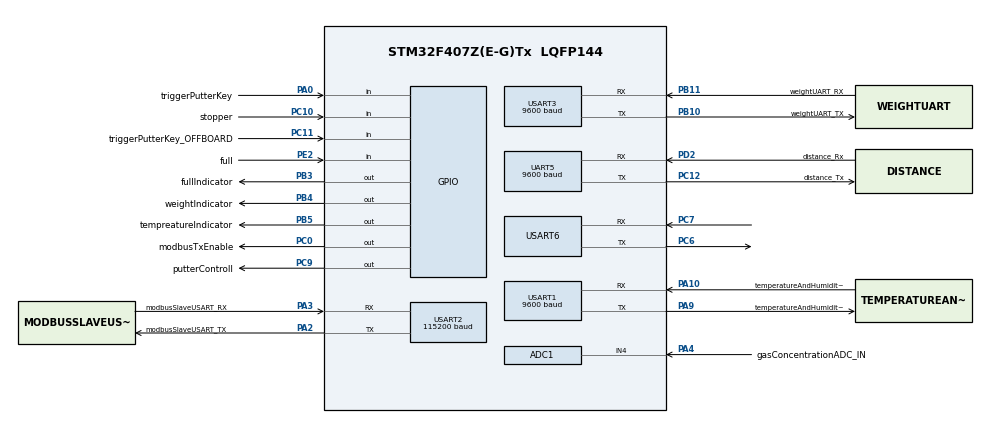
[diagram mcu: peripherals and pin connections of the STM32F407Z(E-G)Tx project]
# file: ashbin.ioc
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Mcu.Family=STM32F4
NVIC.USART3_IRQn=true\:6\:0\:true\:false\:true\:true\:true
Dma.USART6_RX.5.FIFOMode=DMA_FIFOMODE_DISABLE
Dma.USART1_TX.2.Direction=DMA_MEMORY_TO_PERIPH
PH0-OSC_IN.Signal=RCC_OSC_IN
RCC.CortexFreq_Value=168000000
Dma.USART3_TX.4.Priority=DMA_PRIORITY_LOW
PB10.Mode=Asynchronous
ADC1.ContinuousConvMode=ENABLE
Dma.USART6_RX.5.Priority=DMA_PRIORITY_LOW
USART1.BaudRate=9600
PC10.Signal=GPIO_Input
PC12.Signal=UART5_TX
Dma.UART5_RX.6.Direction=DMA_PERIPH_TO_MEMORY
PC0.GPIO_Label=modbusTxEnable
Dma.USART6_RX.5.PeriphDataAlignment=DMA_PDATAALIGN_BYTE
PB11.Signal=USART3_RX
Dma.USART3_RX.3.Mode=DMA_NORMAL
RCC.SYSCLKSource=RCC_SYSCLKSOURCE_PLLCLK
ProjectManager.StackSize=0x400
NVIC.UART5_IRQn=true\:8\:0\:true\:false\:true\:true\:true
Dma.USART6_RX.5.MemInc=DMA_MINC_ENABLE
Dma.USART3_RX.3.MemDataAlignment=DMA_MDATAALIGN_BYTE
NVIC.ADC_IRQn=true\:5\:0\:true\:false\:true\:true\:true
USART3.BaudRate=9600
Dma.USART3_RX.3.PeriphDataAlignment=DMA_PDATAALIGN_BYTE
Dma.USART6_RX.5.Instance=DMA2_Stream1
RCC.HCLKFreq_Value=168000000
RCC.APB2TimFreq_Value=168000000
Dma.USART3_TX.4.MemDataAlignment=DMA_MDATAALIGN_BYTE
VP_TIM10_VS_ClockSourceINT.Mode=Enable_Timer
Dma.ADC1.0.Direction=DMA_PERIPH_TO_MEMORY
ADC1.Channel-2\#ChannelRegularConversion=ADC_CHANNEL_4
PC7.Signal=USART6_RX
ADC1.InjNumberOfConversion=0
NVIC.DMA2_Stream0_IRQn=true\:9\:0\:true\:false\:true\:false\:true
Dma.USART1_RX.1.MemInc=DMA_MINC_ENABLE
Dma.ADC1.0.MemDataAlignment=DMA_MDATAALIGN_HALFWORD
Dma.UART5_RX.6.PeriphDataAlignment=DMA_PDATAALIGN_BYTE
RCC.AHBFreq_Value=168000000
PH0-OSC_IN.Mode=HSE-External-Oscillator
RCC.HSE_VALUE=25000000
Dma.USART1_RX.1.PeriphDataAlignment=DMA_PDATAALIGN_BYTE
ADC1.ScanConvMode=ENABLE
Dma.USART3_RX.3.Instance=DMA1_Stream1
Dma.UART5_RX.6.Mode=DMA_CIRCULAR
ADC1.Rank-2\#ChannelRegularConversion=1
PC14-OSC32_IN.Mode=LSE-External-Oscillator
Dma.ADC1.0.PeriphInc=DMA_PINC_DISABLE
PC11.GPIO_Label=triggerPutterKey_OFFBOARD
NVIC.TIM2_IRQn=true\:4\:0\:true\:false\:true\:true\:true
PA10.GPIO_Label=temperatureAndHumidityUSART_RX
Dma.USART1_TX.2.PeriphDataAlignment=DMA_PDATAALIGN_BYTE
PE2.Signal=GPIO_Input
Dma.USART3_RX.3.PeriphInc=DMA_PINC_DISABLE
Dma.USART1_TX.2.MemDataAlignment=DMA_MDATAALIGN_BYTE
Dma.USART3_TX.4.Direction=DMA_MEMORY_TO_PERIPH
Dma.USART1_RX.1.Mode=DMA_NORMAL
PH1-OSC_OUT.Mode=HSE-External-Oscillator
Mcu.Package=LQFP144
TIM2.Prescaler=0
NVIC.DMA2_Stream7_IRQn=true\:9\:0\:true\:false\:true\:false\:true
Dma.USART6_RX.5.PeriphInc=DMA_PINC_DISABLE
USART2.VirtualMode=VM_ASYNC
USART6.VirtualMode=VM_ASYNC
PA2.GPIO_Label=modbusSlaveUSART_TX
Dma.USART6_RX.5.Mode=DMA_NORMAL
PA10.Signal=USART1_RX
Dma.USART3_TX.4.Instance=DMA1_Stream3
Dma.USART3_RX.3.MemInc=DMA_MINC_ENABLE
Dma.USART1_RX.1.PeriphInc=DMA_PINC_DISABLE
RCC.APB2CLKDivider=RCC_HCLK_DIV2
PB5.GPIO_Label=tempreatureIndicator
NVIC.DMA2_Stream2_IRQn=true\:9\:0\:true\:false\:true\:false\:true
Dma.Request2=USART1_TX
Dma.Request1=USART1_RX
RCC.APB1TimFreq_Value=84000000
Dma.Request4=USART3_TX
Dma.Request3=USART3_RX
Dma.Request6=UART5_RX
Dma.ADC1.0.FIFOMode=DMA_FIFOMODE_DISABLE
Dma.UART5_RX.6.Priority=DMA_PRIORITY_LOW
Dma.Request5=USART6_RX
NVIC.DMA1_Stream0_IRQn=true\:9\:0\:true\:false\:true\:false\:true
UART5.BaudRate=9600
Dma.USART1_RX.1.Priority=DMA_PRIORITY_LOW
NVIC.USART1_IRQn=true\:8\:0\:true\:false\:true\:true\:true
Dma.Request0=ADC1
PA4.GPIO_Label=gasConcentrationADC_IN
PE2.GPIO_Label=full
PB4.Signal=GPIO_Output
PA3.Signal=USART2_RX
Dma.USART3_TX.4.FIFOMode=DMA_FIFOMODE_DISABLE
PB3.GPIO_Label=fullIndicator
TIM10.Prescaler=4199
Dma.USART3_TX.4.PeriphInc=DMA_PINC_DISABLE
PC15-OSC32_OUT.Mode=LSE-External-Oscillator
Dma.USART1_RX.1.Instance=DMA2_Stream2
Dma.USART3_RX.3.Direction=DMA_PERIPH_TO_MEMORY
Dma.ADC1.0.Instance=DMA2_Stream0
Dma.USART1_RX.1.MemDataAlignment=DMA_MDATAALIGN_BYTE
PA10.Mode=Asynchronous
PC10.GPIO_Label=stopper
Dma.USART1_TX.2.MemInc=DMA_MINC_ENABLE
PC9.GPIO_Label=putterControll
Dma.UART5_RX.6.FIFOMode=DMA_FIFOMODE_DISABLE
Dma.USART3_TX.4.MemInc=DMA_MINC_ENABLE
PC11.Signal=GPIO_Input
PA9.GPIO_Label=temperatureAndHumidityUSART_TX
Dma.UART5_RX.6.MemDataAlignment=DMA_MDATAALIGN_BYTE
PC6.Signal=USART6_TX
PB11.GPIO_Label=weightUART_RX
Dma.UART5_RX.6.MemInc=DMA_MINC_ENABLE
NVIC.DMA1_Stream1_IRQn=true\:9\:0\:true\:false\:true\:false\:true
NVIC.DMA2_Stream1_IRQn=true\:9\:0\:true\:false\:true\:false\:true
UART5.VirtualMode=Asynchronous
PC0.Signal=GPIO_Output
RCC.APB1CLKDivider=RCC_HCLK_DIV4
PC14-OSC32_IN.Signal=RCC_OSC32_IN
Dma.UART5_RX.6.PeriphInc=DMA_PINC_DISABLE
NVIC.USART2_IRQn=true\:8\:0\:true\:false\:true\:true\:true
USART2.BaudRate=115200
ADC1.SamplingTime-2\#ChannelRegularConversion=ADC_SAMPLETIME_28CYCLES
PA0-WKUP.GPIO_Label=triggerPutterKey
PA0-WKUP.Signal=GPIO_Input
NVIC.USART6_IRQn=true\:8\:0\:true\:false\:true\:true\:true
Dma.UART5_RX.6.Instance=DMA1_Stream0
PA3.Mode=Asynchronous
Dma.ADC1.0.PeriphDataAlignment=DMA_PDATAALIGN_HALFWORD
PA9.Mode=Asynchronous
PB11.Mode=Asynchronous
ProjectManager.TargetToolchain=Makefile
PB10.GPIO_Label=weightUART_TX
Dma.ADC1.0.Mode=DMA_CIRCULAR
PC6.Mode=Asynchronous
Dma.ADC1.0.Priority=DMA_PRIORITY_LOW
Dma.USART3_RX.3.FIFOMode=DMA_FIFOMODE_DISABLE
PA9.Signal=USART1_TX
PC15-OSC32_OUT.Signal=RCC_OSC32_OUT
PB10.Signal=USART3_TX
PD2.Mode=Asynchronous
Dma.USART1_RX.1.FIFOMode=DMA_FIFOMODE_DISABLE
Dma.USART3_TX.4.PeriphDataAlignment=DMA_PDATAALIGN_BYTE
PC12.Mode=Asynchronous
board=custom
RCC.VCOOutputFreq_Value=336000000
Dma.USART1_TX.2.FIFOMode=DMA_FIFOMODE_DISABLE
TIM10.Period=35
RCC.APB2Freq_Value=84000000
Dma.USART6_RX.5.MemDataAlignment=DMA_MDATAALIGN_BYTE
USART2.StopBits=STOPBITS_1
PB4.GPIO_Label=weightIndicator
VP_TIM2_VS_ClockSourceINT.Mode=Internal
Dma.USART1_TX.2.Priority=DMA_PRIORITY_LOW
PH1-OSC_OUT.Signal=RCC_OSC_OUT
SH.ADCx_IN4.0=ADC1_IN4,IN4
ADC1.DMAContinuousRequests=ENABLE
TIM2.Period=16800000
ADC1.NbrOfConversion=1
Dma.USART6_RX.5.Direction=DMA_PERIPH_TO_MEMORY
Mcu.Name=STM32F407Z(E-G)Tx
PA2.Signal=USART2_TX
Dma.USART1_TX.2.PeriphInc=DMA_PINC_DISABLE
RCC.48MHZClocksFreq_Value=84000000
PB3.Signal=GPIO_Output
PA4.Signal=ADCx_IN4
RCC.SYSCLKFreq_VALUE=168000000
PB5.Signal=GPIO_Output
ADC1.master=1
Dma.USART3_TX.4.Mode=DMA_NORMAL
USART3.VirtualMode=VM_ASYNC
PC12.GPIO_Label=distance_Tx
USART1.VirtualMode=VM_ASYNC
Dma.ADC1.0.MemInc=DMA_MINC_ENABLE
ProjectManager.HeapSize=0x200
NVIC.TIM1_UP_TIM10_IRQn=true\:8\:0\:true\:false\:true\:true\:true
Dma.USART1_TX.2.Mode=DMA_NORMAL
RCC.HSI_VALUE=16000000
NVIC.PriorityGroup=NVIC_PRIORITYGROUP_4
ADC1.NbrOfConversionFlag=1
Dma.USART1_TX.2.Instance=DMA2_Stream7
RCC.PLLM=8
RCC.PLLN=168
PA2.Mode=Asynchronous
TIM2.AutoReloadPreload=TIM_AUTORELOAD_PRELOAD_ENABLE
Dma.USART3_RX.3.Priority=DMA_PRIORITY_LOW
NVIC.DMA1_Stream3_IRQn=true\:9\:0\:true\:false\:true\:false\:true
Dma.USART1_RX.1.Direction=DMA_PERIPH_TO_MEMORY
PC9.Signal=GPIO_Output
PC7.Mode=Asynchronous
PD2.Signal=UART5_RX
RCC.APB1Freq_Value=42000000
PD2.GPIO_Label=distance_Rx
PA3.GPIO_Label=modbusSlaveUSART_RX

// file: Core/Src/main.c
/* USER CODE BEGIN Header */
/**
  ******************************************************************************
  * @file           : main.c
  * @brief          : Main program body
  ******************************************************************************
  * @attention
  *
  * <h2><center>&copy; Copyright (c) 2020 STMicroelectronics.
  * All rights reserved.</center></h2>
  *
  * This software component is licensed by ST under BSD 3-Clause license,
  * the "License"; You may not use this file except in compliance with the
  * License. You may obtain a copy of the License at:
  *                        opensource.org/licenses/BSD-3-Clause
  *
  ******************************************************************************
  */

/* USER CODE END Header */
#include "main.h"
#include "adc.h"
#include "dma.h"
#include "tim.h"
#include "usart.h"
#include "gpio.h"

/* USER CODE BEGIN Includes */
#include "mb.h"
#include "port.h"
#include "log.h"
#include "uart_periphs.h"
#include "putter.h"
#include "perials_board.h"
#include "infrared.h"
/* USER CODE END Includes */

void SystemClock_Config(void);

/* USER CODE BEGIN 0 */
uint32_t ultraSoundValueCnt = 0;
uint32_t ultraSoundTotalValue = 0;
void autoOpenWhenUserComing()
{
  ultraSoundTotalValue += getUltraSoundValue();
  ultraSoundValueCnt++;
  uint32_t ultraSoundMeanValue = ultraSoundTotalValue / ultraSoundValueCnt;
  if (10 == ultraSoundValueCnt)
  {
    if (ultraSoundMeanValue <= 300 && !getPutterStatus())
    {
      setPutterOpen();
    }
    ultraSoundValueCnt = 0;
    ultraSoundMeanValue = 0;
  }
}

/* USER CODE END 0 */

int main(void)
{

  /* MCU Configuration--------------------------------------------------------*/

  /* Reset of all peripherals, Initializes the Flash interface and the Systick. */
  HAL_Init();

  /* Configure the system clock */
  SystemClock_Config();

  /* Initialize all configured peripherals */
  MX_GPIO_Init();
  MX_DMA_Init();
  MX_ADC1_Init();
  MX_TIM10_Init();
  MX_USART1_UART_Init();
  MX_USART2_UART_Init();
  MX_USART3_UART_Init();
  MX_TIM2_Init();
  MX_UART5_Init();
  MX_USART6_UART_Init();
  /* USER CODE BEGIN 2 */

  // NOTE: these initialtions need an order, do not change it without test.
  ADC_DMA_Config();
  tempreatureAndHumityUSART_DMA_Config();
  weightUSART_DMA_Config();
  scanerUSART_DMA_Config();
  ultraSoundUART_DMA_Config();
  LL_TIM_EnableIT_UPDATE(TIM2);
  LL_TIM_EnableCounter(TIM2);

  // init modbus protocol stack
  eMBInit(BOARD_MODBUS_MODE, BOARD_SLAVE_ADDR, BOARD_MODBUS_USART, BOARD_MODBUS_BAUD, BOARD_MODBUS_PARITY);
  // enable modbus protocol stack
  eMBEnable();
  setPutterClose();
  /* USER CODE END 2 */

  /* Infinite loop */
  /* USER CODE BEGIN WHILE */
  while (1)
  {

    eMBPoll();
    keyScan();
    stopperScan();
    updateFullStatus();
    /* USER CODE END WHILE */

    /* USER CODE BEGIN 3 */
    loadGasDataToModbusProtocolStack();
    loadUltraSoundDataToMoubusProtocolStack();

    //autoOpenWhenUserComing();

    updateTempreatureIndicator();
    updateWeightIndicator();
    updateFullIndicator();
  }
  /* USER CODE END 3 */
}

void SystemClock_Config(void)
{
  LL_FLASH_SetLatency(LL_FLASH_LATENCY_5);
  while (LL_FLASH_GetLatency() != LL_FLASH_LATENCY_5)
  {
  }
  LL_PWR_SetRegulVoltageScaling(LL_PWR_REGU_VOLTAGE_SCALE1);
  LL_RCC_HSI_SetCalibTrimming(16);
  LL_RCC_HSI_Enable();

  /* Wait till HSI is ready */
  while (LL_RCC_HSI_IsReady() != 1)
  {
  }
  LL_RCC_PLL_ConfigDomain_SYS(LL_RCC_PLLSOURCE_HSI, LL_RCC_PLLM_DIV_8, 168, LL_RCC_PLLP_DIV_2);
  LL_RCC_PLL_Enable();

  /* Wait till PLL is ready */
  while (LL_RCC_PLL_IsReady() != 1)
  {
  }
  LL_RCC_SetAHBPrescaler(LL_RCC_SYSCLK_DIV_1);
  LL_RCC_SetAPB1Prescaler(LL_RCC_APB1_DIV_4);
  LL_RCC_SetAPB2Prescaler(LL_RCC_APB2_DIV_2);
  LL_RCC_SetSysClkSource(LL_RCC_SYS_CLKSOURCE_PLL);

  /* Wait till System clock is ready */
  while (LL_RCC_GetSysClkSource() != LL_RCC_SYS_CLKSOURCE_STATUS_PLL)
  {
  }
  LL_SetSystemCoreClock(168000000);

  /* Update the time base */
  if (HAL_InitTick(TICK_INT_PRIORITY) != HAL_OK)
  {
    Error_Handler();
  }
}

void Error_Handler(void)
{
}

/************************ (C) COPYRIGHT STMicroelectronics *****END OF FILE****/
